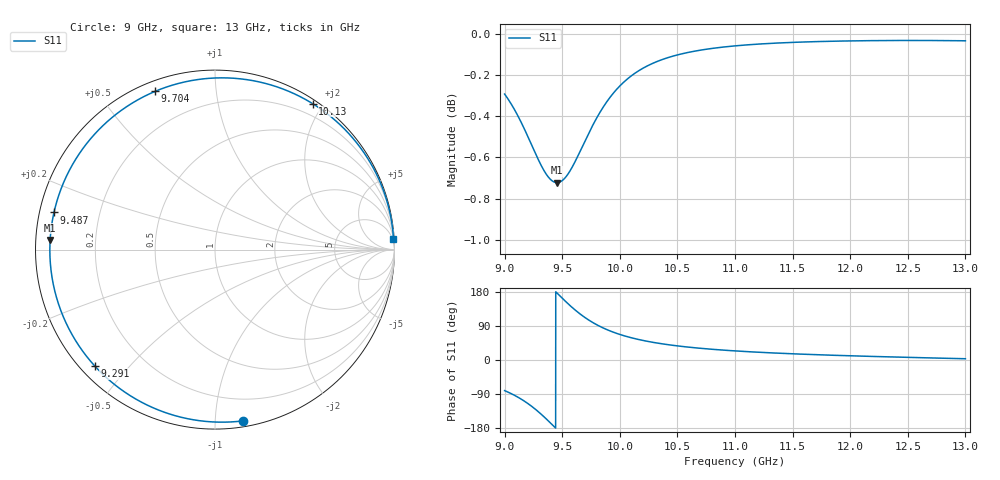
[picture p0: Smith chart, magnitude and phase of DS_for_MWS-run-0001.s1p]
! TOUCHSTONE file generated by CST DESIGN STUDIO
! Date and time: Tue Feb  4 18:19:00 2025
! Project name: C:\Work\MatlabApps\UnitCellOptimizationMatlab\CST\unitcell.cst
! Tree item: Tasks\Sweep1\SPara1\S-Parameters
! Header version: 2024
! Port assignment regex: !\s*Touchstone port\s*([0-9]+)\s*=\s*(CST MWS port|CST DES external port|CST DES block port)\s*(.+)\s* \(\"(.*)\"\)(\s*mode\s*([0-9]+))?.*
! Touchstone port assignment:
! Touchstone port 1 = CST DES external port 1 ("")
# GHz S MA R 50
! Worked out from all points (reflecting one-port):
!   4001 points, 9 GHz to 13 GHz, reference 50 ohm
!   lowest |S11| = -0.7 dB at 9.455 GHz (marker M1), VSWR 24.05, Z = 2.08 + j1.46 ohm
!   phase of S11 starts at -81 deg and turns -276 deg over the sweep
!   S11 on the Smith chart (normalised r, x): 9 GHz: 0.04, -1.17; 9.291 GHz: 0.04, -0.40; 9.487 GHz: 0.04, +0.11; 9.704 GHz: 0.04, +0.69; 10.13 GHz: 0.05, +1.87; 13 GHz: 2, +34
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9  0.9669 -80.8
9.09  0.9581 -93.8
9.163  0.9493 -106.9
9.229  0.9405 -120.9
9.291  0.9323 -136.0
9.333  0.9273 -147.4
9.379  0.9231 -160.5
9.417  0.9209 -171.9
9.455  0.9202 176.7
9.487  0.9207 167.0
9.5  0.9212 163.1
9.548  0.9244 149.2
9.603  0.93 134.3
9.653  0.9361 122.0
9.704  0.9426 110.7
9.761  0.9497 99.7
9.826  0.9569 88.9
9.911  0.9648 77.2
10  0.9713 67.5
10.133  0.9783 56.2
10.298  0.984 46.1
10.5  0.9883 37.2
10.723  0.9912 30.3
11  0.9933 24.0
11.5  0.9953 16.4
12  0.9961 11.1
12.5  0.9964 7.0
13  0.9962 3.3
